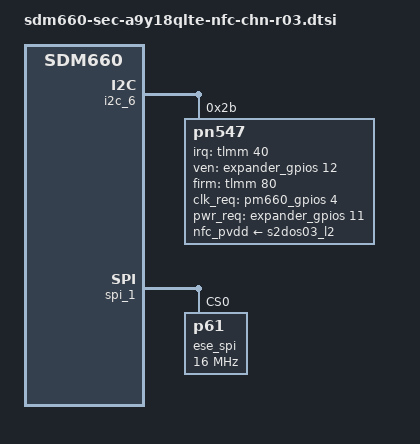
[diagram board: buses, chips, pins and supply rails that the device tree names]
/*
 * Copyright (c) 2017, The Linux Foundation. All rights reserved.
 *
 * This program is free software; you can redistribute it and/or modify
 * it under the terms of the GNU General Public License version 2 and
 * only version 2 as published by the Free Software Foundation.
 *
 * This program is distributed in the hope that it will be useful,
 * but WITHOUT ANY WARRANTY; without even the implied warranty of
 * MERCHANTABILITY or FITNESS FOR A PARTICULAR PURPOSE.  See the
 * GNU General Public License for more details.
 */


&soc {
	pinctrl@03000000{
		i2c_6{
			/delete-node/ i2c_6_sleep;
			nfc_i2c_6_sleep: nfc_i2c_6_sleep {
				mux {
					pins = "gpio22", "gpio23";
					function = "gpio";
				};
	
				config {
					pins = "gpio22", "gpio23";
					drive-strength = <2>;
					bias-disable;
				};
			};
		};
	};

	i2c_6: i2c@c1b6000 { /* BLSP2 QUP2 */
		status = "okay";
		/delete-property/ pinctrl-1;
		pinctrl-1 = <&nfc_i2c_6_sleep>;

		pn547@2B {
			compatible = "pn547";
			reg = <0x2B>;
			interrupt-parent = <&tlmm>;
			interrupts = <40 0>;
			pn547,irq-gpio = <&tlmm 40 0>;
			pn547,ven-gpio = <&expander_gpios 12 0>;
			pn547,firm-gpio = <&tlmm 80 0>;
			pn547,clk_req-gpio = <&pm660_gpios 4 0x00>;
			pn547,pwr_req =  <&expander_gpios 11 0>;
			pn547,nfc_pvdd-supply = <&s2dos03_l2>;
			i2c_node = <&i2c_6>;
			pn547,nfc_pm_clk;
			qcom,clk-src = "BBCLK3";
			clocks = <&clock_rpmcc RPM_LN_BB_CLK3_PIN>;
			clock-names = "rf_clk";
		};
	};

	spi_1: spi@c175000 { /* BLSP1 QUP1 */
		status = "okay";
		spi-max-frequency = <19200000>;

		ese_spi@0 {
			compatible = "p61";
			reg = <0>;
			spi-max-frequency = <16000000>;
			p61-ap_vendor = "qualcomm";
			clock-names = "pclk", "sclk";
			clocks = <&clock_gcc GCC_BLSP1_AHB_CLK>,
				<&clock_gcc GCC_BLSP1_QUP1_SPI_APPS_CLK>;
		};
	};
};

